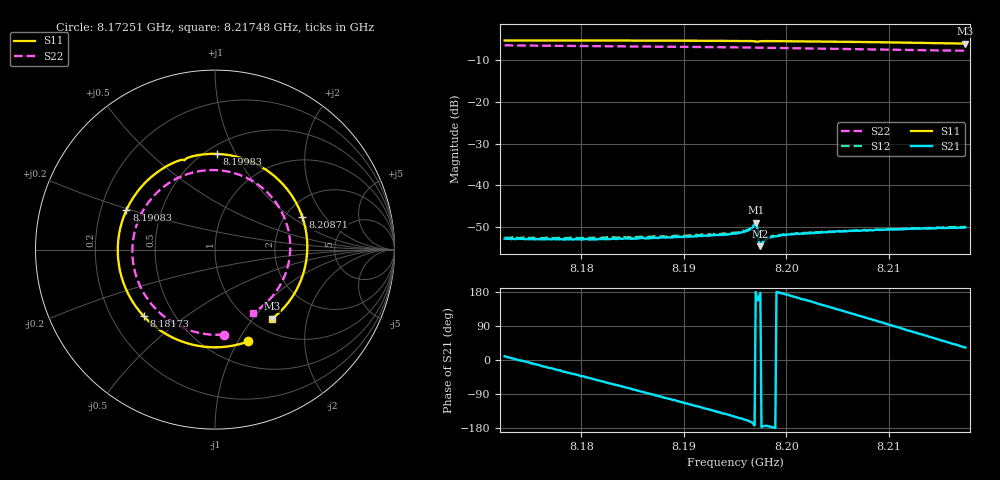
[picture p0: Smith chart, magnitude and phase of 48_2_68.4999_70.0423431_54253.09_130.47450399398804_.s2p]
#  HZ  S  RI  R  50.00
! Rohde & Schwarz Vector Network Analyzer
! Rohde-Schwarz,ZNB20-2Port,1311601062101988,3.16
! Created: UTC 3/20/2024, 5:05:52 PM
! freq[Hz]  re:S11  im:S11  re:S21  im:S21  re:S12  im:S12  re:S22  im:S22
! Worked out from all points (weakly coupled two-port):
!   401 points, 8.17251 GHz to 8.21748 GHz, reference 50 ohm
!   highest |S21| = -49.02 dB at 8.19702 GHz (marker M1); lowest = -54.6 dB at 8.19747 GHz (marker M2)
!   lowest |S11| = -6.0 dB at 8.21748 GHz (marker M3), VSWR 3.00, Z = 61 - j62.7 ohm
!   |S11| at or under -10 dB: nowhere
!   |S22| runs from -7.7 to -6.4 dB; largest |S21 - S12| = 0.00019
!   S11 on the Smith chart (normalised r, x): 8.17251 GHz: 0.76, -1.11; 8.18173 GHz: 0.34, -0.36; 8.19083 GHz: 0.31, +0.19; 8.19983 GHz: 0.57, +0.85; 8.20871 GHz: 2.47, +1.22; 8.21748 GHz: 1.22, -1.25
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8.17251e9  0.1855 -0.5119  0.00225 0.000396  0.0023 0.000408  0.0503 -0.4733
8.176332e9  -0.0719 -0.5396  0.00214 -0.00066  0.00224 -0.000683  -0.1637 -0.4417
8.180042e9  -0.3079 -0.448  0.00162 -0.00152  0.00172 -0.0016  -0.3356 -0.3249
8.181728e9  -0.3961 -0.372  0.00132 -0.00183  0.00132 -0.00191  -0.3926 -0.2497
8.184763e9  -0.5068 -0.1941  0.000596 -0.00221  0.000565 -0.00231  -0.4528 -0.0925
8.187574e9  -0.5417 -0.00224  -0.000238 -0.00233  -0.00029 -0.00241  -0.4549 0.0633
8.190834e9  -0.494 0.2193  -0.00118 -0.00212  -0.0013 -0.00216  -0.3922 0.232
8.194993e9  -0.3083 0.4405  -0.00228 -0.00131  -0.00238 -0.00129  -0.2252 0.3896
8.196117e9  -0.2392 0.4804  -0.00264 -0.00102  -0.00274 -0.000948  -0.1677 0.4157
8.196904e9  -0.1843 0.4999  -0.00335 -0.000427  -0.00344 -0.000266  -0.1255 0.429
8.197017e9  -0.1757 0.5001  -0.00354 3.57e-05  -0.0036 0.000192  -0.1192 0.4304
8.197466e9  -0.156 0.5097  -0.00185 9.71e-05  -0.0019 0.000151  -0.0947 0.4358
8.197579e9  -0.148 0.5131  -0.00194 -0.0001  -0.00198 -6.16e-05  -0.0883 0.437
8.198028e9  -0.1159 0.5222  -0.0022 -0.000246  -0.00229 -0.000176  -0.0631 0.4406
8.198703e9  -0.068 0.5302  -0.0024 -8.74e-05  -0.00248 5.7e-06  -0.0251 0.4432
8.199827e9  0.0116 0.533  -0.0025 0.000263  -0.00253 0.000347  0.0388 0.4401
8.202525e9  0.1969 0.492  -0.00243 0.00121  -0.00237 0.00133  0.1856 0.395
8.205785e9  0.3832 0.3586  -0.00171 0.00223  -0.00164 0.0023  0.3302 0.2745
8.208708e9  0.4871 0.18  -0.000722 0.00283  -0.000615 0.00285  0.4059 0.1199
8.210057e9  0.5094 0.0864  -0.000138 0.00294  -8.93e-05 0.00296  0.4184 0.0394
8.213654e9  0.4803 -0.1673  0.00131 0.00271  0.00141 0.00272  0.3751 -0.1753
8.217476e9  0.3174 -0.3857  0.00262 0.0017  0.00271 0.00163  0.2126 -0.3518
